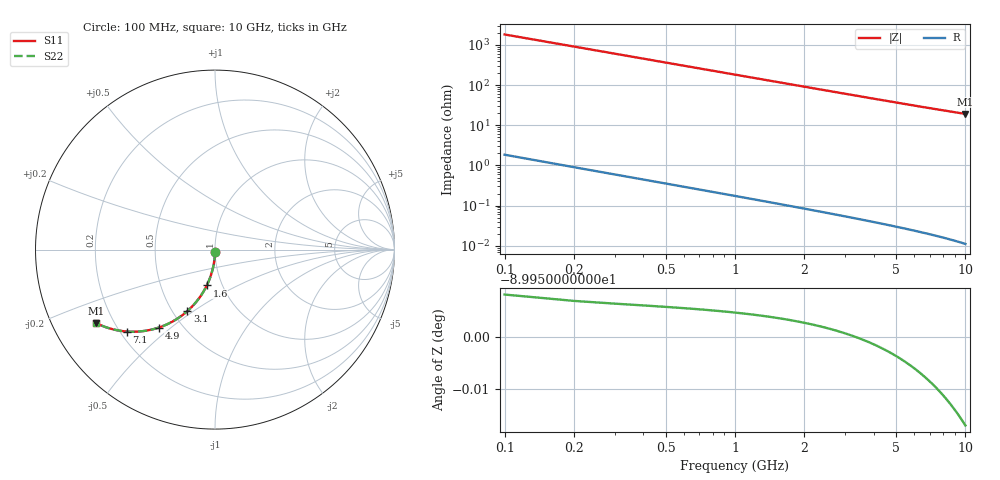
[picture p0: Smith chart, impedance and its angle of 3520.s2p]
# Hz S RI R 50.00
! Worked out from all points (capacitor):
!   100 points, 100 MHz to 10 GHz, reference 50 ohm
!   read as one part in shunt: C = 872 fF near 100 MHz
!   lowest |Z| = 19.2 ohm at 10 GHz (marker M1)
!   S11 on the Smith chart (normalised r, x): 100 MHz: 1.00, -0.03; 1.6 GHz: 0.85, -0.35; 3.1 GHz: 0.59, -0.47; 4.9 GHz: 0.37, -0.45; 7.1 GHz: 0.23, -0.37; 10 GHz: 0.13, -0.28
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1e8  0.00011 -0.0131  0.9995 -0.0143  0.9995 -0.0143  0.00011 -0.0131
2e8  -0.000463 -0.0262  0.9989 -0.0286  0.9989 -0.0286  -0.000463 -0.0262
3e8  -0.00141 -0.0392  0.998 -0.0428  0.998 -0.0428  -0.00141 -0.0392
4e8  -0.00273 -0.0523  0.9966 -0.057  0.9966 -0.057  -0.00273 -0.0523
5e8  -0.00441 -0.0652  0.9949 -0.0712  0.9949 -0.0712  -0.00441 -0.0652
6e8  -0.00646 -0.0781  0.9929 -0.0852  0.9929 -0.0852  -0.00646 -0.0781
7e8  -0.00887 -0.0909  0.9905 -0.0992  0.9905 -0.0992  -0.00887 -0.0909
9e8  -0.0148 -0.1161  0.9845 -0.1269  0.9845 -0.1269  -0.0148 -0.1161
1.2e9  -0.0261 -0.153  0.9731 -0.1673  0.9731 -0.1673  -0.0261 -0.153
1.6e9  -0.0457 -0.1997  0.9534 -0.2188  0.9534 -0.2188  -0.0457 -0.1997
1.8e9  -0.0572 -0.2219  0.9419 -0.2434  0.9419 -0.2434  -0.0572 -0.2219
2.4e9  -0.0977 -0.2827  0.9013 -0.3114  0.9013 -0.3114  -0.0977 -0.2827
3.1e9  -0.1533 -0.3418  0.8453 -0.379  0.8453 -0.379  -0.1533 -0.3418
3.4e9  -0.179 -0.3631  0.8195 -0.4039  0.8195 -0.4039  -0.179 -0.3631
4.1e9  -0.2413 -0.4033  0.7568 -0.4525  0.7568 -0.4525  -0.2413 -0.4033
4.9e9  -0.3131 -0.4342  0.6844 -0.4932  0.6844 -0.4932  -0.3131 -0.4342
5.1e9  -0.3308 -0.4397  0.6666 -0.5012  0.6666 -0.5012  -0.3308 -0.4397
5.9e9  -0.3992 -0.4539  0.5975 -0.5252  0.5975 -0.5252  -0.3992 -0.4539
6.7e9  -0.4627 -0.4576  0.5333 -0.5388  0.5333 -0.5388  -0.4627 -0.4576
7.1e9  -0.4922 -0.4563  0.5033 -0.5425  0.5033 -0.5425  -0.4922 -0.4563
8.4e9  -0.5778 -0.4416  0.4161 -0.5441  0.4161 -0.5441  -0.5778 -0.4416
1e10  -0.6624 -0.4092  0.3292 -0.5324  0.3292 -0.5324  -0.6624 -0.4092
